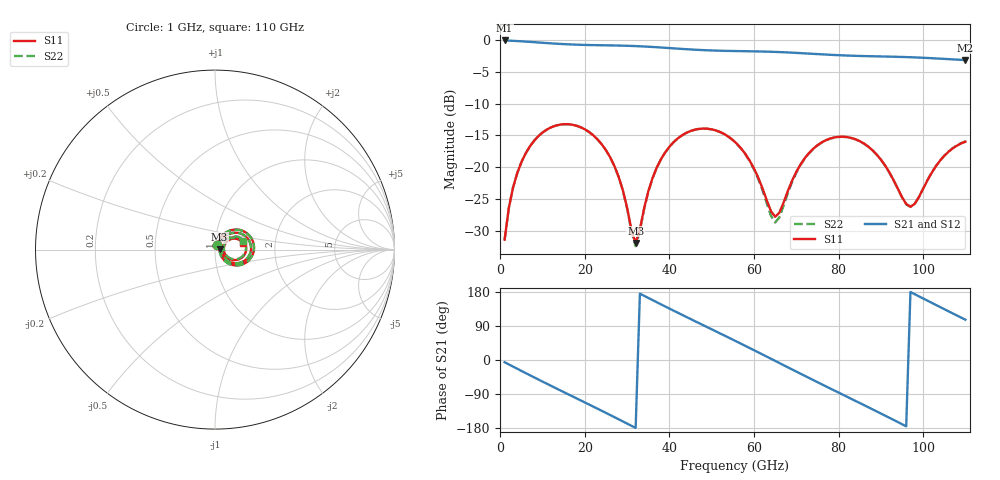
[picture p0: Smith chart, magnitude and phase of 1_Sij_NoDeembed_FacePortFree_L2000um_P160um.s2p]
! Touchstone file exported from HFSS 2024.2.0
!  File:  C:/Users/vaintrug/Documents/Ansoft_Workspace/Comparaison_Calculs_HFSS/1_VarPort.aedt
!  Generated:  03:22:18 PM Jan 21, 2025
!  Design:  1_NoDeembed_FacePortFree
!  Project:  1_VarPort
!  Setup:  Setup1
!  Solution:  Sweep
! Variables:
!  $Lenght = 2000um
!  $PortSize = 160um
!  Gap = 30um
!  Th = 2um
!  X_centralStrip = 20um
!  X_masse = 200um
!  Y_Sub = 2mm
!  Z_Box = 400um
!  Z_Sub = 200um
# GHz S MA R 50.000000
! Terminal data exported
! Port[1] = 1
! Port[2] = 2
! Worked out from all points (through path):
!   110 points, 1 GHz to 110 GHz, reference 50 ohm
!   highest |S21| = -0.13 dB at 1 GHz (marker M1); lowest = -3.2 dB at 110 GHz (marker M2)
!   group delay of S21, straight-line fit = 15.5 ps
!   lowest |S11| = -31.8 dB at 32 GHz (marker M3), VSWR 1.05, Z = 52.6 + j0.12 ohm
!   |S11| at or under -10 dB: start of sweep to end of sweep
!   |S22| runs from -32.3 to -13.2 dB; largest |S21 - S12| = 2e-15
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1  0.02717 60.8  0.9854 -5.9  0.9854 -5.9  0.02717 60.8
! Gamma 6.01425497329502 50.095999430621 5.77514195353914 50.0862615398176
! Port Impedance 50 0 50 0
3  0.06968 65.6  0.9784 -17.4  0.9784 -17.4  0.06966 65.6
7  0.1464 48.7  0.9604 -40.3  0.9604 -40.3  0.1464 48.7
13  0.2119 17.9  0.9306 -73.8  0.9306 -73.8  0.2119 18.0
20  0.1986 -17.1  0.9093 -112.1  0.9093 -112.1  0.1984 -17.2
27  0.1021 -46.7  0.9002 -151.0  0.9002 -151.0  0.1018 -47.1
32  0.02557 2.5  0.8901 -179.3  0.8901 -179.3  0.02419 2.8
35  0.06512 53.2  0.8802 163.7  0.8802 163.7  0.06453 54.6
38  0.1161 48.0  0.8679 146.8  0.8679 146.8  0.1157 48.9
43  0.1786 27.4  0.8459 119.1  0.8459 119.1  0.1783 28.0
47  0.2003 9.2  0.831 97.2  0.831 97.2  0.1999 9.7
51  0.1947 -8.8  0.8208 75.4  0.8208 75.4  0.1942 -8.5
56  0.1525 -29.4  0.8138 48.0  0.8138 48.0  0.1516 -29.5
60  0.09801 -40.1  0.8097 25.8  0.8097 25.8  0.09641 -40.9
65  0.04111 -2.0  0.8016 -2.3  0.8016 -2.3  0.03708 -0.7
70  0.09228 38.7  0.7877 -30.5  0.7877 -30.5  0.09084 42.3
74  0.14 28.9  0.7741 -52.9  0.7741 -52.9  0.1392 31.7
83  0.1701 -6.6  0.7489 -102.5  0.7489 -102.5  0.1698 -4.2
92  0.09162 -32.1  0.7364 -152.4  0.7364 -152.4  0.09126 -29.7
97  0.04926 1.4  0.7283 179.4  0.7283 179.4  0.04903 4.4
103  0.1019 33.8  0.713 145.5  0.713 145.5  0.1024 36.8
110  0.1589 13.5  0.6923 106.4  0.6923 106.4  0.1599 16.6
